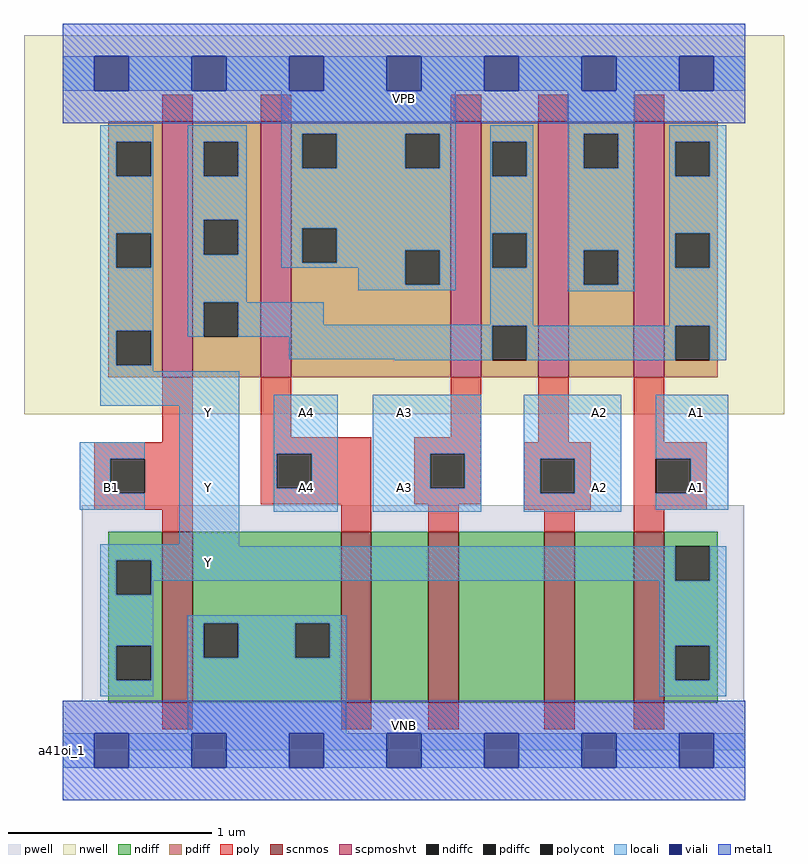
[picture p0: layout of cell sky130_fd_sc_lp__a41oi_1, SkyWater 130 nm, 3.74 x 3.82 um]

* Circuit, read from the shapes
.subckt sky130_fd_sc_lp__a41oi_1 A1 A2 A3 A4 B1 VGND VNB VPB VPWR Y
XM1 VGND B1 Y VNB sky130_fd_pr__nfet_01v8 w=0.84 l=0.15
XM2 n1 A4 VGND VNB sky130_fd_pr__nfet_01v8 w=0.84 l=0.15
XM3 n2 A3 n1 VNB sky130_fd_pr__nfet_01v8 w=0.84 l=0.15
XM4 n3 A2 n2 VNB sky130_fd_pr__nfet_01v8 w=0.84 l=0.15
XM5 Y A1 n3 VNB sky130_fd_pr__nfet_01v8 w=0.84 l=0.15
XM6 n4 B1 Y VPB sky130_fd_pr__pfet_01v8_hvt w=1.26 l=0.15
XM7 VPWR A4 n4 VPB sky130_fd_pr__pfet_01v8_hvt w=1.26 l=0.15
XM8 n4 A3 VPWR VPB sky130_fd_pr__pfet_01v8_hvt w=1.26 l=0.15
XM9 VPWR A2 n4 VPB sky130_fd_pr__pfet_01v8_hvt w=1.26 l=0.15
XM10 n4 A1 VPWR VPB sky130_fd_pr__pfet_01v8_hvt w=1.26 l=0.15
.ends

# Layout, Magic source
magic
tech sky130A
magscale 1 2
<< nwell >>
rect -38 331 710 704
<< pwell >>
rect 19 49 671 241
rect 0 0 672 49
<< scnmos >>
rect 98 47 128 215
rect 274 47 304 215
rect 360 47 390 215
rect 474 47 504 215
rect 562 47 592 215
<< scpmoshvt >>
rect 98 367 128 619
rect 195 367 225 619
rect 382 367 412 619
rect 468 367 498 619
rect 562 367 592 619
<< ndiff >>
rect 45 187 98 215
rect 45 153 53 187
rect 87 153 98 187
rect 45 103 98 153
rect 45 69 53 103
rect 87 69 98 103
rect 45 47 98 69
rect 128 125 274 215
rect 128 91 139 125
rect 173 91 229 125
rect 263 91 274 125
rect 128 47 274 91
rect 304 47 360 215
rect 390 47 474 215
rect 504 47 562 215
rect 592 201 645 215
rect 592 167 603 201
rect 637 167 645 201
rect 592 103 645 167
rect 592 69 603 103
rect 637 69 645 103
rect 592 47 645 69
<< pdiff >>
rect 45 599 98 619
rect 45 565 53 599
rect 87 565 98 599
rect 45 509 98 565
rect 45 475 53 509
rect 87 475 98 509
rect 45 413 98 475
rect 45 379 53 413
rect 87 379 98 413
rect 45 367 98 379
rect 128 599 195 619
rect 128 565 139 599
rect 173 565 195 599
rect 128 522 195 565
rect 128 488 139 522
rect 173 488 195 522
rect 128 441 195 488
rect 128 407 139 441
rect 173 407 195 441
rect 128 367 195 407
rect 225 607 382 619
rect 225 573 236 607
rect 270 573 337 607
rect 371 573 382 607
rect 225 514 382 573
rect 225 480 236 514
rect 270 492 382 514
rect 270 480 337 492
rect 225 458 337 480
rect 371 458 382 492
rect 225 367 382 458
rect 412 599 468 619
rect 412 565 423 599
rect 457 565 468 599
rect 412 509 468 565
rect 412 475 423 509
rect 457 475 468 509
rect 412 418 468 475
rect 412 384 423 418
rect 457 384 468 418
rect 412 367 468 384
rect 498 607 562 619
rect 498 573 513 607
rect 547 573 562 607
rect 498 492 562 573
rect 498 458 513 492
rect 547 458 562 492
rect 498 367 562 458
rect 592 599 645 619
rect 592 565 603 599
rect 637 565 645 599
rect 592 509 645 565
rect 592 475 603 509
rect 637 475 645 509
rect 592 418 645 475
rect 592 384 603 418
rect 637 384 645 418
rect 592 367 645 384
<< ndiffc >>
rect 53 153 87 187
rect 53 69 87 103
rect 139 91 173 125
rect 229 91 263 125
rect 603 167 637 201
rect 603 69 637 103
<< pdiffc >>
rect 53 565 87 599
rect 53 475 87 509
rect 53 379 87 413
rect 139 565 173 599
rect 139 488 173 522
rect 139 407 173 441
rect 236 573 270 607
rect 337 573 371 607
rect 236 480 270 514
rect 337 458 371 492
rect 423 565 457 599
rect 423 475 457 509
rect 423 384 457 418
rect 513 573 547 607
rect 513 458 547 492
rect 603 565 637 599
rect 603 475 637 509
rect 603 384 637 418
<< poly >>
rect 98 619 128 645
rect 195 619 225 645
rect 382 619 412 645
rect 468 619 498 645
rect 562 619 592 645
rect 98 303 128 367
rect 31 287 128 303
rect 31 253 47 287
rect 81 253 128 287
rect 31 237 128 253
rect 195 308 225 367
rect 382 308 412 367
rect 195 292 304 308
rect 195 258 211 292
rect 245 258 304 292
rect 195 242 304 258
rect 346 292 412 308
rect 468 303 498 367
rect 562 303 592 367
rect 346 258 362 292
rect 396 258 412 292
rect 346 242 412 258
rect 454 287 520 303
rect 454 253 470 287
rect 504 253 520 287
rect 98 215 128 237
rect 274 215 304 242
rect 360 215 390 242
rect 454 237 520 253
rect 562 287 634 303
rect 562 253 584 287
rect 618 253 634 287
rect 562 237 634 253
rect 474 215 504 237
rect 562 215 592 237
rect 98 21 128 47
rect 274 21 304 47
rect 360 21 390 47
rect 474 21 504 47
rect 562 21 592 47
<< polycont >>
rect 47 253 81 287
rect 211 258 245 292
rect 362 258 396 292
rect 470 253 504 287
rect 584 253 618 287
<< locali >>
rect 0 649 31 683
rect 65 649 127 683
rect 161 649 223 683
rect 257 649 319 683
rect 353 649 415 683
rect 449 649 511 683
rect 545 649 607 683
rect 641 649 672 683
rect 37 599 89 615
rect 37 565 53 599
rect 87 565 89 599
rect 37 509 89 565
rect 37 475 53 509
rect 87 475 89 509
rect 37 413 89 475
rect 37 379 53 413
rect 87 379 89 413
rect 123 599 181 615
rect 123 565 139 599
rect 173 565 181 599
rect 123 522 181 565
rect 123 488 139 522
rect 173 488 181 522
rect 123 441 181 488
rect 215 607 387 649
rect 215 573 236 607
rect 270 573 337 607
rect 371 573 387 607
rect 215 514 387 573
rect 215 480 236 514
rect 270 492 387 514
rect 270 480 337 492
rect 215 475 337 480
rect 291 458 337 475
rect 371 458 387 492
rect 291 453 387 458
rect 421 599 463 615
rect 421 565 423 599
rect 457 565 463 599
rect 421 509 463 565
rect 421 475 423 509
rect 457 475 463 509
rect 123 407 139 441
rect 173 419 257 441
rect 421 419 463 475
rect 497 607 563 649
rect 497 573 513 607
rect 547 573 563 607
rect 497 492 563 573
rect 497 458 513 492
rect 547 458 563 492
rect 497 452 563 458
rect 597 599 653 615
rect 597 565 603 599
rect 637 565 653 599
rect 597 509 653 565
rect 597 475 603 509
rect 637 475 653 509
rect 173 418 463 419
rect 597 418 653 475
rect 173 407 423 418
rect 223 385 423 407
rect 327 384 423 385
rect 457 384 603 418
rect 637 384 653 418
rect 37 373 89 379
rect 37 339 174 373
rect 17 287 81 303
rect 17 253 47 287
rect 17 237 81 253
rect 115 203 174 339
rect 208 292 271 350
rect 208 258 211 292
rect 245 258 271 292
rect 208 235 271 258
rect 305 292 412 350
rect 305 258 362 292
rect 396 258 412 292
rect 305 235 412 258
rect 454 287 550 350
rect 454 253 470 287
rect 504 253 550 287
rect 454 235 550 253
rect 584 287 655 350
rect 618 253 655 287
rect 584 237 655 253
rect 37 201 174 203
rect 37 187 603 201
rect 37 153 53 187
rect 87 167 603 187
rect 637 167 653 201
rect 87 153 89 167
rect 37 103 89 153
rect 37 69 53 103
rect 87 69 89 103
rect 37 53 89 69
rect 123 125 279 133
rect 123 91 139 125
rect 173 91 229 125
rect 263 91 279 125
rect 123 17 279 91
rect 587 103 653 167
rect 587 69 603 103
rect 637 69 653 103
rect 587 53 653 69
rect 0 -17 31 17
rect 65 -17 127 17
rect 161 -17 223 17
rect 257 -17 319 17
rect 353 -17 415 17
rect 449 -17 511 17
rect 545 -17 607 17
rect 641 -17 672 17
<< viali >>
rect 31 649 65 683
rect 127 649 161 683
rect 223 649 257 683
rect 319 649 353 683
rect 415 649 449 683
rect 511 649 545 683
rect 607 649 641 683
rect 31 -17 65 17
rect 127 -17 161 17
rect 223 -17 257 17
rect 319 -17 353 17
rect 415 -17 449 17
rect 511 -17 545 17
rect 607 -17 641 17
<< metal1 >>
rect 0 683 672 715
rect 0 649 31 683
rect 65 649 127 683
rect 161 649 223 683
rect 257 649 319 683
rect 353 649 415 683
rect 449 649 511 683
rect 545 649 607 683
rect 641 649 672 683
rect 0 617 672 649
rect 0 17 672 49
rect 0 -17 31 17
rect 65 -17 127 17
rect 161 -17 223 17
rect 257 -17 319 17
rect 353 -17 415 17
rect 449 -17 511 17
rect 545 -17 607 17
rect 641 -17 672 17
rect 0 -49 672 -17
<< labels >>
flabel pwell s 0 0 672 49 0 FreeSans 200 0 0 0 VNB
port 7 nsew ground bidirectional
flabel nwell s 0 617 672 666 0 FreeSans 200 0 0 0 VPB
port 8 nsew power bidirectional
rlabel comment s 0 0 0 0 4 a41oi_1
flabel metal1 s 0 617 672 666 0 FreeSans 340 0 0 0 VPWR
port 9 nsew power bidirectional
flabel metal1 s 0 0 672 49 0 FreeSans 340 0 0 0 VGND
port 6 nsew ground bidirectional
flabel locali s 607 242 641 276 0 FreeSans 340 0 0 0 A1
port 1 nsew signal input
flabel locali s 511 242 545 276 0 FreeSans 340 0 0 0 A2
port 2 nsew signal input
flabel locali s 319 242 353 276 0 FreeSans 340 0 0 0 A3
port 3 nsew signal input
flabel locali s 319 316 353 350 0 FreeSans 340 0 0 0 A3
port 3 nsew signal input
flabel locali s 223 242 257 276 0 FreeSans 340 0 0 0 A4
port 4 nsew signal input
flabel locali s 223 316 257 350 0 FreeSans 340 0 0 0 A4
port 4 nsew signal input
flabel locali s 31 242 65 276 0 FreeSans 340 0 0 0 B1
port 5 nsew signal input
flabel locali s 607 316 641 350 0 FreeSans 340 0 0 0 A1
port 1 nsew signal input
flabel locali s 511 316 545 350 0 FreeSans 340 0 0 0 A2
port 2 nsew signal input
flabel locali s 127 168 161 202 0 FreeSans 200 0 0 0 Y
port 10 nsew signal output
flabel locali s 127 242 161 276 0 FreeSans 200 0 0 0 Y
port 10 nsew signal output
flabel locali s 127 316 161 350 0 FreeSans 200 0 0 0 Y
port 10 nsew signal output
<< properties >>
string LEFsite unit
string LEFclass CORE
string FIXED_BBOX 0 0 672 666
string GDS_FILE $PDKPATH/libs.ref/sky130_fd_sc_lp/gds/sky130_fd_sc_lp.gds
string LEFsymmetry X Y R90
string GDS_END 1339194
string GDS_START 1332212
<< end >>
